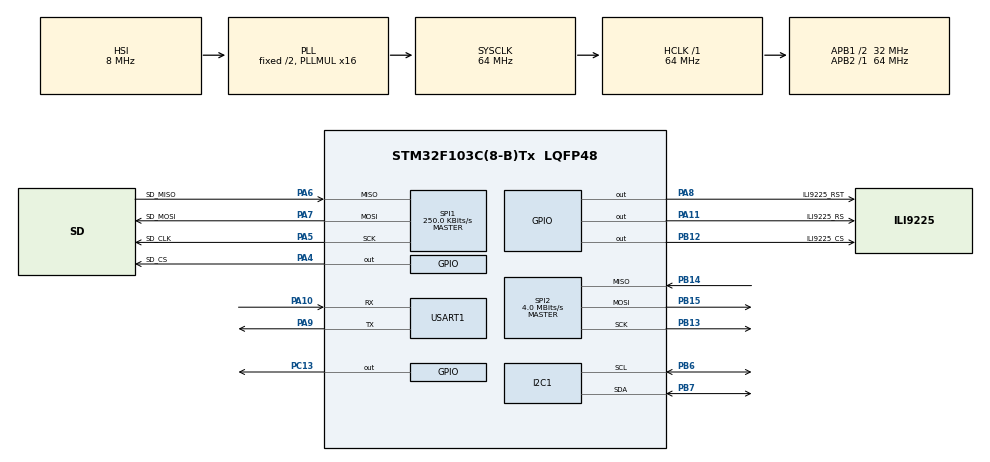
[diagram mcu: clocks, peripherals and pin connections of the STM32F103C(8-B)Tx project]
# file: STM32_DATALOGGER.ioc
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Mcu.Family=STM32F1
Mcu.Name=STM32F103C(8-B)Tx
Mcu.Package=LQFP48
NVIC.PriorityGroup=NVIC_PRIORITYGROUP_4
NVIC.USART1_IRQn=true\:1\:0\:true\:false\:true\:true\:true\:true
PA10.Mode=Asynchronous
PA10.Signal=USART1_RX
PA11.GPIO_Label=ILI9225_RS
PA11.Signal=GPIO_Output
PA13.Mode=Serial_Wire
PA13.Signal=SYS_JTMS-SWDIO
PA14.Mode=Serial_Wire
PA14.Signal=SYS_JTCK-SWCLK
PA4.GPIO_Label=SD_CS
PA4.Signal=GPIO_Output
PA5.GPIO_Label=SD_CLK
PA5.Mode=Full_Duplex_Master
PA5.Signal=SPI1_SCK
PA6.GPIO_Label=SD_MISO
PA6.Mode=Full_Duplex_Master
PA6.Signal=SPI1_MISO
PA7.GPIO_Label=SD_MOSI
PA7.Mode=Full_Duplex_Master
PA7.Signal=SPI1_MOSI
PA8.GPIO_Label=ILI9225_RST
PA8.Signal=GPIO_Output
PA9.Mode=Asynchronous
PA9.Signal=USART1_TX
PB12.GPIO_Label=ILI9225_CS
PB12.Signal=GPIO_Output
PB13.Mode=Full_Duplex_Master
PB13.Signal=SPI2_SCK
PB14.Mode=Full_Duplex_Master
PB14.Signal=SPI2_MISO
PB15.Mode=Full_Duplex_Master
PB15.Signal=SPI2_MOSI
PB6.Mode=I2C
PB6.Signal=I2C1_SCL
PB7.Mode=I2C
PB7.Signal=I2C1_SDA
PC13-TAMPER-RTC.Signal=GPIO_Output
PD0-OSC_IN.Mode=HSE-External-Oscillator
PD0-OSC_IN.Signal=RCC_OSC_IN
PD1-OSC_OUT.Mode=HSE-External-Oscillator
PD1-OSC_OUT.Signal=RCC_OSC_OUT
ProjectManager.HeapSize=0x200
ProjectManager.StackSize=0x400
ProjectManager.TargetToolchain=STM32CubeIDE
RCC.AHBFreq_Value=64000000
RCC.APB1CLKDivider=RCC_HCLK_DIV2
RCC.APB1Freq_Value=32000000
RCC.APB1TimFreq_Value=64000000
RCC.APB2Freq_Value=64000000
RCC.APB2TimFreq_Value=64000000
RCC.HCLKFreq_Value=64000000
RCC.PLLMUL=RCC_PLL_MUL16
RCC.SYSCLKFreq_VALUE=64000000
RCC.SYSCLKSource=RCC_SYSCLKSOURCE_PLLCLK
RCC.USBFreq_Value=64000000
SPI1.BaudRatePrescaler=SPI_BAUDRATEPRESCALER_256
SPI1.CLKPhase=SPI_PHASE_1EDGE
SPI1.CLKPolarity=SPI_POLARITY_LOW
SPI1.CalculateBaudRate=250.0 KBits/s
SPI1.Direction=SPI_DIRECTION_2LINES
SPI1.Mode=SPI_MODE_MASTER
SPI1.VirtualType=VM_MASTER
SPI2.BaudRatePrescaler=SPI_BAUDRATEPRESCALER_8
SPI2.CLKPhase=SPI_PHASE_2EDGE
SPI2.CLKPolarity=SPI_POLARITY_HIGH
SPI2.CalculateBaudRate=4.0 MBits/s
SPI2.Direction=SPI_DIRECTION_2LINES
SPI2.Mode=SPI_MODE_MASTER
SPI2.VirtualType=VM_MASTER
USART1.VirtualMode=VM_ASYNC
board=custom

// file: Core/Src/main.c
/* USER CODE BEGIN Header */
/**
 ******************************************************************************
 * @file           : main.c
 * @brief          : Main program body
 ******************************************************************************
 * @attention
 *
 * Copyright (c) 2025 STMicroelectronics.
 * All rights reserved.
 *
 * This software is licensed under terms that can be found in the LICENSE file
 * in the root directory of this software component.
 * If no LICENSE file comes with this software, it is provided AS-IS.
 *
 ******************************************************************************
 */
/* USER CODE END Header */
#include "main.h"

/* USER CODE BEGIN Includes */

#include "uart.h"
#include "sht3x.h"
#include "ds3231.h"
#include "data_manager.h"
#include "wifi_manager.h"
#include "sd_card_manager.h"
#include "sensor_json_output.h"
#include "print_cli.h"
#include "ili9225.h"
#include "display.h"

/* USER CODE END Includes */

/* USER CODE BEGIN PD */

#define PERIODIC_PRINT_INTERVAL_MS 5000 // Interval to print periodic data (5 seconds)
#define SD_SEND_INTERVAL_MS 100         // Delay between sending SD records (100ms)
#define DISPLAY_UPDATE_INTERVAL_MS 1000 // Display refresh rate (1s)

/* USER CODE END PD */

I2C_HandleTypeDef hi2c1;

SPI_HandleTypeDef hspi1;
SPI_HandleTypeDef hspi2;

UART_HandleTypeDef huart1;

/* USER CODE BEGIN PV */

// External variable for display update control
extern bool force_display_update;

// Sensor device
ds3231_t g_ds3231;
sht3x_t g_sht3x;
static float sensor_temp = 0.0f;
static float sensor_humidity = 0.0f;

// Periodic fetch timing
static uint32_t last_fetch_ms = 0;
uint32_t next_fetch_ms = 0; // Exposed for cmd_parser
uint32_t periodic_interval_ms = PERIODIC_PRINT_INTERVAL_MS;

// MQTT state
mqtt_state_t mqtt_current_state = MQTT_STATE_DISCONNECTED;

// Display control
bool force_display_update = false;
static uint32_t last_display_update_ms = 0;

// SD buffering control
static uint32_t last_sd_send_ms = 0;
static sd_data_record_t sd_buffer_record; // Moved to global scope (512 bytes)

/* USER CODE END PV */

void SystemClock_Config(void);
static void MX_GPIO_Init(void);
static void MX_I2C1_Init(void);
static void MX_USART1_UART_Init(void);
static void MX_SPI1_Init(void);
static void MX_SPI2_Init(void);
/* USER CODE BEGIN PFP */

// Task functions (cleaner separation of concerns)
static void Task_HandleUART(void);
static void Task_HandlePeriodicSensorFetch(bool *is_periodic_active);
static void Task_HandleMQTTConnectedMode(void);
static void Task_HandleMQTTDisconnectedMode(void);
static void Task_HandleDisplayUpdate(bool is_periodic_active);

// Helper functions
static uint32_t Get_Current_Timestamp(void);
static void Send_SD_BufferedRecord_If_Available(void);

/* USER CODE END PFP */

/* USER CODE BEGIN 0 */

/**
 * @brief Helper: Get current Unix timestamp from DS3231 RTC
 *
 * @return Unix timestamp (seconds since 1970-01-01)
 */
static uint32_t Get_Current_Timestamp(void)
{
    struct tm time;
    if (DS3231_Get_Time(&g_ds3231, &time) == HAL_OK)
    {
        return (uint32_t)mktime(&time);
    }
    return HAL_GetTick() / 1000; // Fallback
}

/**
 * @brief Task: Handle UART communication
 */
static void Task_HandleUART(void)
{
    UART_Handle();
}

/**
 * @brief Task: Handle periodic sensor data fetch
 *
 * @param is_periodic_active Pointer to bool indicating if periodic mode is active
 */
static void Task_HandlePeriodicSensorFetch(bool *is_periodic_active)
{
    if (!SHT3X_IS_PERIODIC_STATE(g_sht3x.currentState))
    {
        *is_periodic_active = false;
        return;
    }

    *is_periodic_active = true;
    uint32_t now = HAL_GetTick();

    // Check if it's time to fetch and prevent duplicate reads
    if ((int32_t)(now - next_fetch_ms) >= 0 && last_fetch_ms != now)
    {
        // Fetch sensor data
        SHT3X_FetchData(&g_sht3x, &sensor_temp, &sensor_humidity);

        // Update data manager with periodic data
        DataManager_UpdatePeriodic(sensor_temp, sensor_humidity);

        // Toggle LED
        HAL_GPIO_TogglePin(GPIOC, GPIO_PIN_13);

        // Record fetch time and schedule next
        last_fetch_ms = now;
        next_fetch_ms = now + periodic_interval_ms;
    }
}

/**
 * @brief Task: Handle data routing when MQTT is CONNECTED
 *
 * @details Responsibilities:
 *          - Send live sensor data via UART
 *          - Send buffered SD data via UART
 */
static void Task_HandleMQTTConnectedMode(void)
{
    // 1. Send live data if ready (uses DataManager_Print internally)
    DataManager_Print();

    // 2. Send buffered SD data (non-blocking)
    Send_SD_BufferedRecord_If_Available();
}

/**
 * @brief Task: Handle data routing when MQTT is DISCONNECTED
 *
 * @details Responsibilities:
 *          - Buffer sensor data to SD card
 *          - DO NOT send data via UART
 */
static void Task_HandleMQTTDisconnectedMode(void)
{
    if (!DataManager_IsDataReady())
        return;

    const data_manager_state_t *state = DataManager_GetState();

    // Get timestamp from RTC
    uint32_t timestamp = Get_Current_Timestamp();

    // Determine mode string
    const char *mode_str = (state->mode == DATA_MANAGER_MODE_SINGLE) ? "SINGLE" : "PERIODIC";

    // Write to SD card buffer
    SDCardManager_WriteData(timestamp, state->sht3x.temperature,
                            state->sht3x.humidity, mode_str);

    // Clear flag to allow next data
    DataManager_ClearDataReady();
}

/**
 * @brief Helper: Send one buffered SD record if available
 *
 * @details Non-blocking, respects SD_SEND_INTERVAL_MS delay between records
 */
static void Send_SD_BufferedRecord_If_Available(void)
{
    uint32_t now_ms = HAL_GetTick();

    // Check buffer count and respect interval
    if (SDCardManager_GetBufferedCount() == 0)
        return;

    if ((now_ms - last_sd_send_ms) < SD_SEND_INTERVAL_MS)
        return;

    // Read one record from SD
    if (!SDCardManager_ReadData(&sd_buffer_record))
        return;

    // Format as JSON
    char json_buffer[128];
    int len = sensor_json_format(json_buffer, sizeof(json_buffer),
                                 sd_buffer_record.mode,
                                 sd_buffer_record.temperature,
                                 sd_buffer_record.humidity,
                                 sd_buffer_record.timestamp);

    // Send to ESP32 via UART
    if (len > 0)
    {
        PRINT_CLI(json_buffer);

        // Remove record after successful send
        SDCardManager_RemoveRecord();
        last_sd_send_ms = now_ms;
    }
}

/**
 * @brief Task: Update TFT display (every 1 second or when forced)
 *
 * @param is_periodic_active Indicates if periodic mode is currently active
 */
static void Task_HandleDisplayUpdate(bool is_periodic_active)
{
    uint32_t now_ms = HAL_GetTick();

    // Check update interval
    if (now_ms - last_display_update_ms < DISPLAY_UPDATE_INTERVAL_MS && !force_display_update)
        return;

    // Get current timestamp from RTC
    time_t current_time = Get_Current_Timestamp();

    // Get sensor data from data manager
    const data_manager_state_t *state = DataManager_GetState();
    float display_temp = state->sht3x.valid ? state->sht3x.temperature : 0.0f;
    float display_humi = state->sht3x.valid ? state->sht3x.humidity : 0.0f;

    // Determine MQTT connection status
    bool mqtt_connected = (mqtt_current_state == MQTT_STATE_CONNECTED);

    // Calculate interval in seconds
    int interval_seconds = periodic_interval_ms / 1000;

    // Update display
    display_update(current_time, display_temp, display_humi,
                   mqtt_connected, is_periodic_active, interval_seconds);

    // Reset flags
    last_display_update_ms = now_ms;
    force_display_update = false;
}

/* USER CODE END 0 */

int main(void)
{

    /* MCU Configuration--------------------------------------------------------*/

    /* Reset of all peripherals, Initializes the Flash interface and the Systick. */
    HAL_Init();

    /* Configure the system clock */
    SystemClock_Config();

    /* Initialize all configured peripherals */
    MX_GPIO_Init();
    MX_I2C1_Init();
    MX_USART1_UART_Init();
    MX_SPI1_Init();
    MX_SPI2_Init();
    /* USER CODE BEGIN 2 */

    // Initialize UART
    UART_Init(&huart1);

    // Initialize sensors
    SHT3X_Init(&g_sht3x, &hi2c1, SHT3X_I2C_ADDR_GND);
    DS3231_Init(&g_ds3231, &hi2c1);

    // Initialize data manager
    DataManager_Init();

    // Initialize SD Card (with power stabilization delay)
    HAL_Delay(200); // 200ms for SD card power-up
    if (!SDCardManager_Init())
    {
        PRINT_CLI("[WARN] SD Card NOT available! Data will be lost when WiFi disconnected.\r\n");
    }

    // Initialize display
    ILI9225_Init();
    HAL_Delay(50); // Display stabilization
    display_init();

    /* USER CODE END 2 */

    /* Infinite loop */
    /* USER CODE BEGIN WHILE */

    bool is_periodic_active = false;

    while (1)
    {
        /* USER CODE END WHILE */

        /* USER CODE BEGIN 3 */

        // Task 1: Handle UART communication
        Task_HandleUART();

        // Task 2: Handle periodic sensor data fetch
        Task_HandlePeriodicSensorFetch(&is_periodic_active);

        // Task 3: Route data based on MQTT state
        if (mqtt_current_state == MQTT_STATE_CONNECTED)
        {
            Task_HandleMQTTConnectedMode();
        }
        else
        {
            Task_HandleMQTTDisconnectedMode();
        }

        // Task 4: Update display
        Task_HandleDisplayUpdate(is_periodic_active);

        /* USER CODE END 3 */
    }
}
void SystemClock_Config(void)
{
    RCC_OscInitTypeDef RCC_OscInitStruct = {0};
    RCC_ClkInitTypeDef RCC_ClkInitStruct = {0};

    /** Initializes the RCC Oscillators according to the specified parameters
     * in the RCC_OscInitTypeDef structure.
     */
    RCC_OscInitStruct.OscillatorType = RCC_OSCILLATORTYPE_HSI;
    RCC_OscInitStruct.HSIState = RCC_HSI_ON;
    RCC_OscInitStruct.HSICalibrationValue = RCC_HSICALIBRATION_DEFAULT;
    RCC_OscInitStruct.PLL.PLLState = RCC_PLL_ON;
    RCC_OscInitStruct.PLL.PLLSource = RCC_PLLSOURCE_HSI_DIV2;
    RCC_OscInitStruct.PLL.PLLMUL = RCC_PLL_MUL16;
    if (HAL_RCC_OscConfig(&RCC_OscInitStruct) != HAL_OK)
    {
        Error_Handler();
    }

    /** Initializes the CPU, AHB and APB buses clocks
     */
    RCC_ClkInitStruct.ClockType = RCC_CLOCKTYPE_HCLK | RCC_CLOCKTYPE_SYSCLK | RCC_CLOCKTYPE_PCLK1 | RCC_CLOCKTYPE_PCLK2;
    RCC_ClkInitStruct.SYSCLKSource = RCC_SYSCLKSOURCE_PLLCLK;
    RCC_ClkInitStruct.AHBCLKDivider = RCC_SYSCLK_DIV1;
    RCC_ClkInitStruct.APB1CLKDivider = RCC_HCLK_DIV2;
    RCC_ClkInitStruct.APB2CLKDivider = RCC_HCLK_DIV1;

    if (HAL_RCC_ClockConfig(&RCC_ClkInitStruct, FLASH_LATENCY_2) != HAL_OK)
    {
        Error_Handler();
    }
}

static void MX_I2C1_Init(void)
{

    hi2c1.Instance = I2C1;
    hi2c1.Init.ClockSpeed = 100000;
    hi2c1.Init.DutyCycle = I2C_DUTYCYCLE_2;
    hi2c1.Init.OwnAddress1 = 0;
    hi2c1.Init.AddressingMode = I2C_ADDRESSINGMODE_7BIT;
    hi2c1.Init.DualAddressMode = I2C_DUALADDRESS_DISABLE;
    hi2c1.Init.OwnAddress2 = 0;
    hi2c1.Init.GeneralCallMode = I2C_GENERALCALL_DISABLE;
    hi2c1.Init.NoStretchMode = I2C_NOSTRETCH_DISABLE;
    if (HAL_I2C_Init(&hi2c1) != HAL_OK)
    {
        Error_Handler();
    }
}

static void MX_SPI1_Init(void)
{

    /* SPI1 parameter configuration*/
    hspi1.Instance = SPI1;
    hspi1.Init.Mode = SPI_MODE_MASTER;
    hspi1.Init.Direction = SPI_DIRECTION_2LINES;
    hspi1.Init.DataSize = SPI_DATASIZE_8BIT;
    hspi1.Init.CLKPolarity = SPI_POLARITY_LOW;
    hspi1.Init.CLKPhase = SPI_PHASE_1EDGE;
    hspi1.Init.NSS = SPI_NSS_SOFT;
    hspi1.Init.BaudRatePrescaler = SPI_BAUDRATEPRESCALER_256;
    hspi1.Init.FirstBit = SPI_FIRSTBIT_MSB;
    hspi1.Init.TIMode = SPI_TIMODE_DISABLE;
    hspi1.Init.CRCCalculation = SPI_CRCCALCULATION_DISABLE;
    hspi1.Init.CRCPolynomial = 10;
    if (HAL_SPI_Init(&hspi1) != HAL_OK)
    {
        Error_Handler();
    }
}

static void MX_SPI2_Init(void)
{

    /* SPI2 parameter configuration*/
    hspi2.Instance = SPI2;
    hspi2.Init.Mode = SPI_MODE_MASTER;
    hspi2.Init.Direction = SPI_DIRECTION_2LINES;
    hspi2.Init.DataSize = SPI_DATASIZE_8BIT;
    hspi2.Init.CLKPolarity = SPI_POLARITY_HIGH;
    hspi2.Init.CLKPhase = SPI_PHASE_2EDGE;
    hspi2.Init.NSS = SPI_NSS_SOFT;
    hspi2.Init.BaudRatePrescaler = SPI_BAUDRATEPRESCALER_8;
    hspi2.Init.FirstBit = SPI_FIRSTBIT_MSB;
    hspi2.Init.TIMode = SPI_TIMODE_DISABLE;
    hspi2.Init.CRCCalculation = SPI_CRCCALCULATION_DISABLE;
    hspi2.Init.CRCPolynomial = 10;
    if (HAL_SPI_Init(&hspi2) != HAL_OK)
    {
        Error_Handler();
    }
}

static void MX_USART1_UART_Init(void)
{

    huart1.Instance = USART1;
    huart1.Init.BaudRate = 115200;
    huart1.Init.WordLength = UART_WORDLENGTH_8B;
    huart1.Init.StopBits = UART_STOPBITS_1;
    huart1.Init.Parity = UART_PARITY_NONE;
    huart1.Init.Mode = UART_MODE_TX_RX;
    huart1.Init.HwFlowCtl = UART_HWCONTROL_NONE;
    huart1.Init.OverSampling = UART_OVERSAMPLING_16;
    if (HAL_UART_Init(&huart1) != HAL_OK)
    {
        Error_Handler();
    }
}

static void MX_GPIO_Init(void)
{
    GPIO_InitTypeDef GPIO_InitStruct = {0};

    /* GPIO Ports Clock Enable */
    __HAL_RCC_GPIOC_CLK_ENABLE();
    __HAL_RCC_GPIOD_CLK_ENABLE();
    __HAL_RCC_GPIOA_CLK_ENABLE();
    __HAL_RCC_GPIOB_CLK_ENABLE();

    /*Configure GPIO pin Output Level */
    HAL_GPIO_WritePin(GPIOC, GPIO_PIN_13, GPIO_PIN_RESET);

    /*Configure GPIO pin Output Level */
    HAL_GPIO_WritePin(GPIOA, SD_CS_Pin | ILI9225_RST_Pin | ILI9225_RS_Pin, GPIO_PIN_RESET);

    /*Configure GPIO pin Output Level */
    HAL_GPIO_WritePin(ILI9225_CS_GPIO_Port, ILI9225_CS_Pin, GPIO_PIN_RESET);

    /*Configure GPIO pin : PC13 */
    GPIO_InitStruct.Pin = GPIO_PIN_13;
    GPIO_InitStruct.Mode = GPIO_MODE_OUTPUT_PP;
    GPIO_InitStruct.Pull = GPIO_NOPULL;
    GPIO_InitStruct.Speed = GPIO_SPEED_FREQ_LOW;
    HAL_GPIO_Init(GPIOC, &GPIO_InitStruct);

    /*Configure GPIO pins : SD_CS_Pin ILI9225_RST_Pin ILI9225_RS_Pin */
    GPIO_InitStruct.Pin = SD_CS_Pin | ILI9225_RST_Pin | ILI9225_RS_Pin;
    GPIO_InitStruct.Mode = GPIO_MODE_OUTPUT_PP;
    GPIO_InitStruct.Pull = GPIO_NOPULL;
    GPIO_InitStruct.Speed = GPIO_SPEED_FREQ_LOW;
    HAL_GPIO_Init(GPIOA, &GPIO_InitStruct);

    /*Configure GPIO pin : ILI9225_CS_Pin */
    GPIO_InitStruct.Pin = ILI9225_CS_Pin;
    GPIO_InitStruct.Mode = GPIO_MODE_OUTPUT_PP;
    GPIO_InitStruct.Pull = GPIO_NOPULL;
    GPIO_InitStruct.Speed = GPIO_SPEED_FREQ_LOW;
    HAL_GPIO_Init(ILI9225_CS_GPIO_Port, &GPIO_InitStruct);

}

void Error_Handler(void)
{
    __disable_irq();
    while (1)
    {
    }
}
